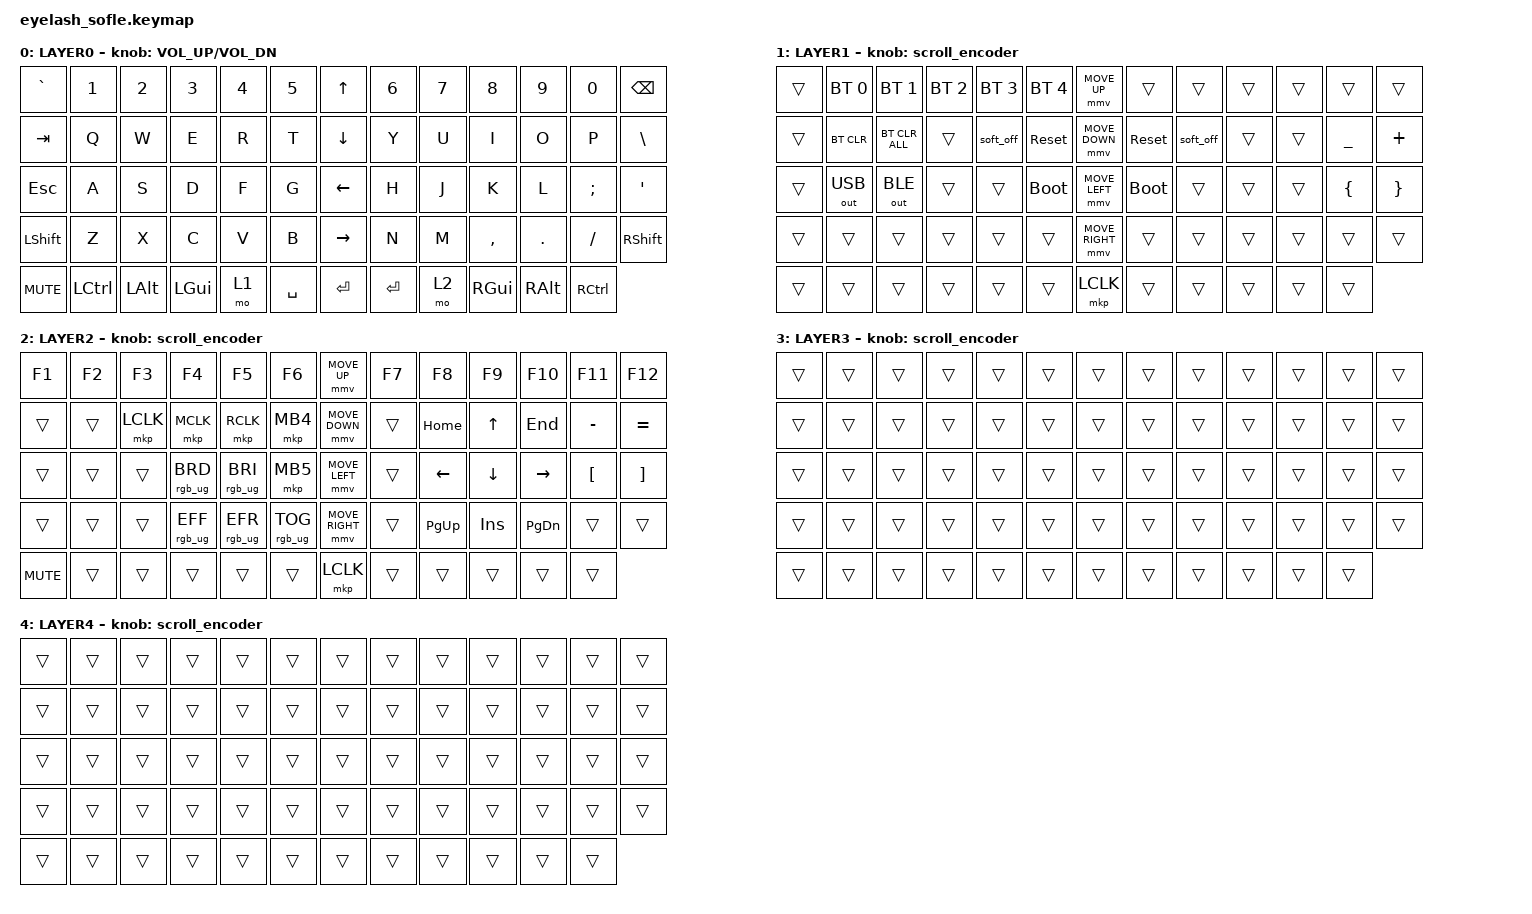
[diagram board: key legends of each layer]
#define ZMK_POINTING_DEFAULT_MOVE_VAL 1200  // 600
#define ZMK_POINTING_DEFAULT_SCRL_VAL 25   // 10

#include <input/processors.dtsi>
#include <zephyr/dt-bindings/input/input-event-codes.h>
#include <behaviors.dtsi>
#include <dt-bindings/zmk/bt.h>
#include <dt-bindings/zmk/keys.h>
#include <dt-bindings/zmk/outputs.h>
#include <dt-bindings/zmk/pointing.h>
#include <dt-bindings/zmk/rgb.h>

&mmv_input_listener { input-processors = <&zip_xy_scaler 2 1>; };

&msc_input_listener { input-processors = <&zip_scroll_scaler 2 1>; };

&msc {
    acceleration-exponent = <1>;      // 0
    time-to-max-speed-ms = <100>;       // 300
    delay-ms = <0>;                   // 0
};

&mmv {
    time-to-max-speed-ms = <500>;
    acceleration-exponent = <1>;
    trigger-period-ms = <16>;
};

&soft_off { hold-time-ms = <2000>; };

/ {
    scroll_encoder: scroll_encoder {
        compatible = "zmk,behavior-sensor-rotate";
        #sensor-binding-cells = <0>;
        bindings = <&msc SCRL_DOWN>, <&msc SCRL_UP>;

        tap-ms = <100>;
    };

    behaviors {
    };

    combos {
        compatible = "zmk,combos";

        softoff {
            bindings = <&soft_off>;
            key-positions = <14 28 40>;
        };
    };

    keymap {
        compatible = "zmk,keymap";

        LAYER0 {
            bindings = <
&kp GRAVE   &kp N1     &kp N2        &kp N3        &kp N4  &kp N5       &kp UP_ARROW     &kp N6     &kp N7  &kp N8         &kp N9         &kp N0             &kp BACKSPACE
&kp TAB     &kp Q      &kp W         &kp E         &kp R   &kp T        &kp DOWN_ARROW   &kp Y      &kp U   &kp I          &kp O          &kp P              &kp BSLH
&kp ESCAPE  &kp A      &kp S         &kp D         &kp F   &kp G        &kp LEFT_ARROW   &kp H      &kp J   &kp K          &kp L          &kp SEMI           &kp APOS
&kp LSHFT   &kp Z      &kp X         &kp C         &kp V   &kp B        &kp RIGHT_ARROW  &kp N      &kp M   &kp COMMA      &kp DOT        &kp FSLH           &kp RIGHT_SHIFT
&kp C_MUTE  &kp LCTRL  &kp LEFT_ALT  &kp LEFT_GUI  &mo 1   &kp SPACE    &kp ENTER        &kp ENTER  &mo 2   &kp RIGHT_GUI  &kp RIGHT_ALT  &kp RIGHT_CONTROL
            >;

            sensor-bindings = <&inc_dec_kp C_VOLUME_UP C_VOL_DN>;
            display-name = "LAYER0";
        };

        LAYER1 {
            bindings = <
&trans  &bt BT_SEL 0  &bt BT_SEL 1    &bt BT_SEL 2  &bt BT_SEL 3  &bt BT_SEL 4    &mmv MOVE_UP     &trans       &trans     &trans  &trans  &trans     &trans
&trans  &bt BT_CLR    &bt BT_CLR_ALL  &trans        &soft_off     &sys_reset      &mmv MOVE_DOWN   &sys_reset   &soft_off  &trans  &trans  &kp UNDER  &kp PLUS
&trans  &out OUT_USB  &out OUT_BLE    &trans        &trans        &bootloader     &mmv MOVE_LEFT   &bootloader  &trans     &trans  &trans  &kp LBRC   &kp RBRC
&trans  &trans        &trans          &trans        &trans        &trans          &mmv MOVE_RIGHT  &trans       &trans     &trans  &trans  &trans     &trans
&trans  &trans        &trans          &trans        &trans        &trans          &mkp LCLK        &trans       &trans     &trans  &trans  &trans
            >;

            display-name = "LAYER1";
            sensor-bindings = <&scroll_encoder>;
        };

        LAYER2 {
            bindings = <
&kp F1      &kp F2  &kp F3     &kp F4           &kp F5           &kp F6             &mmv MOVE_UP     &kp F7  &kp F8       &kp F9      &kp F10        &kp F11           &kp F12
&trans      &trans  &mkp LCLK  &mkp MCLK        &mkp RCLK        &mkp MB4           &mmv MOVE_DOWN   &trans  &kp HOME     &kp UP      &kp END        &kp MINUS         &kp EQUAL
&trans      &trans  &trans     &rgb_ug RGB_BRD  &rgb_ug RGB_BRI  &mkp MB5           &mmv MOVE_LEFT   &trans  &kp LEFT     &kp DOWN    &kp RIGHT      &kp LEFT_BRACKET  &kp RIGHT_BRACKET
&trans      &trans  &trans     &rgb_ug RGB_EFF  &rgb_ug RGB_EFR  &rgb_ug RGB_TOG    &mmv MOVE_RIGHT  &trans  &kp PAGE_UP  &kp INSERT  &kp PAGE_DOWN  &trans            &trans
&kp C_MUTE  &trans  &trans     &trans           &trans           &trans             &mkp LCLK        &trans  &trans       &trans      &trans         &trans
            >;

            display-name = "LAYER2";
            sensor-bindings = <&scroll_encoder>;
        };

        LAYER3 {
            bindings = <
&trans  &trans  &trans  &trans  &trans  &trans    &trans  &trans  &trans  &trans  &trans  &trans  &trans
&trans  &trans  &trans  &trans  &trans  &trans    &trans  &trans  &trans  &trans  &trans  &trans  &trans
&trans  &trans  &trans  &trans  &trans  &trans    &trans  &trans  &trans  &trans  &trans  &trans  &trans
&trans  &trans  &trans  &trans  &trans  &trans    &trans  &trans  &trans  &trans  &trans  &trans  &trans
&trans  &trans  &trans  &trans  &trans  &trans    &trans  &trans  &trans  &trans  &trans  &trans
            >;

            display-name = "LAYER3";
            sensor-bindings = <&scroll_encoder>;
        };

        LAYER4 {
            bindings = <
&trans  &trans  &trans  &trans  &trans  &trans    &trans  &trans  &trans  &trans  &trans  &trans  &trans
&trans  &trans  &trans  &trans  &trans  &trans    &trans  &trans  &trans  &trans  &trans  &trans  &trans
&trans  &trans  &trans  &trans  &trans  &trans    &trans  &trans  &trans  &trans  &trans  &trans  &trans
&trans  &trans  &trans  &trans  &trans  &trans    &trans  &trans  &trans  &trans  &trans  &trans  &trans
&trans  &trans  &trans  &trans  &trans  &trans    &trans  &trans  &trans  &trans  &trans  &trans
            >;

            display-name = "LAYER4";
            sensor-bindings = <&scroll_encoder>;
        };
    };
};
